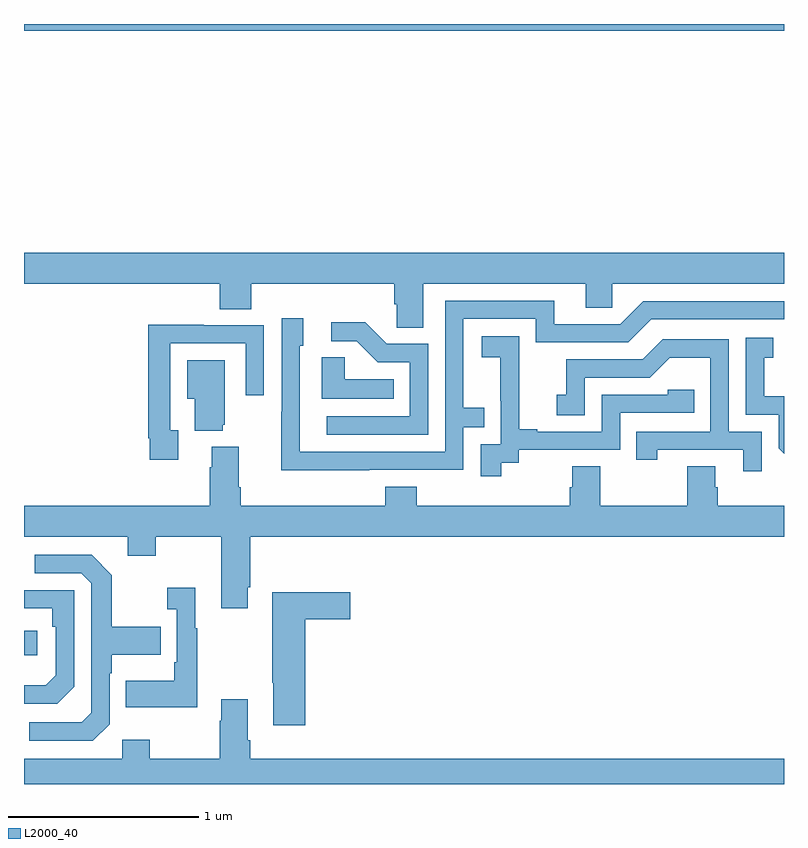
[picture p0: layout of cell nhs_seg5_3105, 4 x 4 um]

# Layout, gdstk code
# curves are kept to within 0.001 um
import gdstk
lib = gdstk.Library(unit=1e-6, precision=1e-09)
def R(c, l, rs):  # rectangles x0, y0, x1, y1
    for r in rs: c.add(gdstk.rectangle(r[:2], r[2:], *l))
def P(c, l, *ps):  # polygons
    for p in ps: c.add(gdstk.Polygon(p, *l))
L2000_40 = (2000, 40)

nhs_seg5_3105 = lib.new_cell('nhs_seg5_3105')
R(nhs_seg5_3105, L2000_40, [(291,849.476,291.07,849.606), (291,852.764,295,852.799)])
P(nhs_seg5_3105, L2000_40, [(293.101,851.432),(293.957,851.432),(293.957,851.305),(294.096,851.305),(294.096,851.432),(295,851.432),(295,851.596),(291,851.596),(291,851.432),(292.031,851.432),(292.031,851.299),(292.196,851.299),(292.196,851.432),(292.949,851.432),(292.949,851.323),(292.962,851.323),(292.962,851.2),(293.101,851.2)],
  [(292.817,850.452),(293.313,850.452),(293.313,850.677),(293.423,850.677),(293.423,850.778),(293.313,850.778),(293.313,851.247),(293.694,851.247),(293.694,851.124),(294.18,851.124),(294.3,851.244),(295,851.244),(295,851.34),(294.258,851.34),(294.138,851.22),(293.791,851.22),(293.791,851.343),(293.217,851.343),(293.217,850.548),(292.452,850.548),(292.452,851.106),(292.471,851.106),(292.471,851.251),(292.356,851.251),(292.356,850.757),(292.354,850.757),(292.354,850.451)],
  [(293.127,851.115),(292.908,851.115),(292.795,851.228),(292.617,851.228),(292.617,851.13),(292.751,851.13),(292.862,851.019),(293.031,851.019),(293.031,850.734),(292.593,850.734),(292.593,850.638),(293.127,850.638)],
  [(291.811,850.662),(291.771,850.662),(291.771,851.118),(292.167,851.118),(292.167,850.845),(292.263,850.845),(292.263,851.214),(291.947,851.214),(291.947,851.216),(291.655,851.216),(291.655,850.618),(291.663,850.618),(291.663,850.506),(291.811,850.506)],
  [(293.512,850.489),(293.604,850.489),(293.604,850.557),(294.138,850.557),(294.138,850.752),(294.527,850.752),(294.527,850.875),(294.387,850.875),(294.387,850.848),(294.042,850.848),(294.042,850.653),(293.701,850.653),(293.701,850.666),(293.606,850.666),(293.606,850.949),(293.607,850.949),(293.607,851.155),(293.409,851.155),(293.409,851.045),(293.507,851.045),(293.507,850.817),(293.508,850.817),(293.508,850.587),(293.403,850.587),(293.403,850.419),(293.512,850.419)],
  [(295,850.839),(294.895,850.839),(294.895,851.043),(294.944,851.043),(294.944,851.149),(294.798,851.149),(294.798,850.743),(294.972,850.743),(294.972,850.566),(295,850.538)],
  [(294.882,850.653),(294.708,850.653),(294.708,851.139),(294.362,851.139),(294.257,851.034),(293.854,851.034),(293.854,850.849),(293.805,850.849),(293.805,850.74),(293.952,850.74),(293.952,850.938),(294.294,850.938),(294.398,851.042),(294.612,851.042),(294.612,850.653),(294.223,850.653),(294.223,850.506),(294.334,850.506),(294.334,850.557),(294.785,850.557),(294.785,850.446),(294.882,850.446)],
  [(292.946,850.93),(292.689,850.93),(292.689,851.045),(292.568,851.045),(292.568,850.826),(292.946,850.826)],
  [(292.046,850.689),(292.057,850.689),(292.057,851.029),(291.86,851.029),(291.86,850.826),(291.899,850.826),(291.899,850.658),(292.046,850.658)],
  [(292.142,850.36),(292.129,850.36),(292.129,850.573),(291.989,850.573),(291.989,850.466),(291.977,850.466),(291.977,850.264),(291,850.264),(291,850.1),(291.545,850.1),(291.545,850.001),(291.693,850.001),(291.693,850.1),(292.037,850.1),(292.037,849.723),(292.177,849.723),(292.177,849.835),(292.19,849.835),(292.19,850.1),(295,850.1),(295,850.264),(294.65,850.264),(294.65,850.362),(294.637,850.362),(294.637,850.472),(294.49,850.472),(294.49,850.264),(294.033,850.264),(294.033,850.472),(293.885,850.472),(293.885,850.362),(293.873,850.362),(293.873,850.264),(293.066,850.264),(293.066,850.363),(292.901,850.363),(292.901,850.264),(292.142,850.264)],
  [(291.45,849.114),(291.45,849.383),(291.463,849.383),(291.463,849.479),(291.719,849.479),(291.719,849.627),(291.463,849.627),(291.463,849.899),(291.357,850.005),(291.057,850.005),(291.057,849.909),(291.3,849.909),(291.354,849.855),(291.354,849.174),(291.303,849.123),(291.027,849.123),(291.027,849.027),(291.363,849.027)],
  [(291.913,849.619),(291.901,849.619),(291.901,849.832),(291.753,849.832),(291.753,849.719),(291.804,849.719),(291.804,849.439),(291.792,849.439),(291.792,849.343),(291.535,849.343),(291.535,849.203),(291.913,849.203)],
  [(291.264,849.312),(291.264,849.819),(291,849.819),(291,849.723),(291.148,849.723),(291.148,849.626),(291.168,849.626),(291.168,849.372),(291.115,849.319),(291,849.319),(291,849.222),(291.174,849.222)],
  [(292.481,849.665),(292.717,849.665),(292.717,849.807),(292.306,849.807),(292.306,849.331),(292.313,849.331),(292.313,849.108),(292.481,849.108)],
  [(295,848.932),(292.19,848.932),(292.19,849.028),(292.177,849.028),(292.177,849.244),(292.037,849.244),(292.037,849.131),(292.03,849.131),(292.03,848.932),(291.663,848.932),(291.663,849.031),(291.516,849.031),(291.516,848.932),(291,848.932),(291,848.799),(295,848.799)])

lib.write_gds('nhs_seg5_3105.gds')
